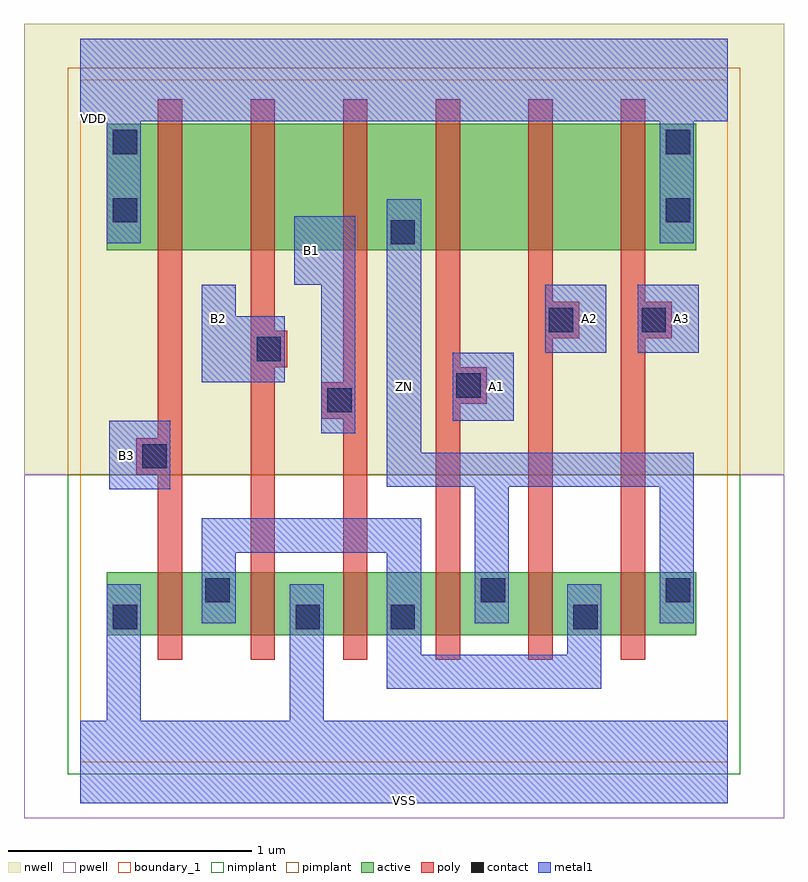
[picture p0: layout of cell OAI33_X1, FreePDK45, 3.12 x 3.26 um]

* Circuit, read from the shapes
.subckt OAI33_X1 A1 A2 A3 B1 B2 B3 VDD VSS ZN
M1 n1 B3 VSS VSUBS nfet w=0.26u l=0.1u
M2 VSS B2 n1 VSUBS nfet w=0.26u l=0.1u
M3 n1 B1 VSS VSUBS nfet w=0.26u l=0.1u
M4 ZN A1 n1 VSUBS nfet w=0.26u l=0.1u
M5 n1 A2 ZN VSUBS nfet w=0.26u l=0.1u
M6 ZN A3 n1 VSUBS nfet w=0.26u l=0.1u
M7 n2 B3 VDD n3 pfet w=0.52u l=0.1u
M8 n4 B2 n2 n3 pfet w=0.52u l=0.1u
M9 ZN B1 n4 n3 pfet w=0.52u l=0.1u
M10 n5 A1 ZN n3 pfet w=0.52u l=0.1u
M11 n6 A2 n5 n3 pfet w=0.52u l=0.1u
M12 VDD A3 n6 n3 pfet w=0.52u l=0.1u
.ends

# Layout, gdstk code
import gdstk
lib = gdstk.Library(unit=1e-6, precision=1e-09)
def R(c, l, rs):  # rectangles x0, y0, x1, y1
    for r in rs: c.add(gdstk.rectangle(r[:2], r[2:], *l))
def P(c, l, *ps):  # polygons
    for p in ps: c.add(gdstk.Polygon(p, *l))
active = (1, 0)
pwell = (2, 0)
nwell = (3, 0)
nimplant = (4, 0)
pimplant = (5, 0)
poly = (9, 0)
contact = (10, 0)
metal1 = (11, 0)
boundary_1 = (235, 1)

oai33_x1 = lib.new_cell('OAI33_X1')
R(oai33_x1, active, [(0.11,0.52,2.53,0.78), (0.11,2.1,2.53,2.62)])
R(oai33_x1, pwell, [(-0.23,-0.23,2.89,1.18)])
R(oai33_x1, nwell, [(-0.23,1.18,2.89,3.03)])
R(oai33_x1, nimplant, [(-0.05,-0.05,2.71,1.18)])
R(oai33_x1, pimplant, [(-0.05,1.18,2.71,2.85)])
P(oai33_x1, poly, [(2.22,0.42),(2.32,0.42),(2.32,1.74),(2.43,1.74),(2.43,1.89),(2.32,1.89),(2.32,2.72),(2.22,2.72)],
  [(1.84,0.42),(1.94,0.42),(1.94,1.74),(2.05,1.74),(2.05,1.89),(1.94,1.89),(1.94,2.72),(1.84,2.72)],
  [(1.46,0.42),(1.56,0.42),(1.56,1.47),(1.67,1.47),(1.67,1.62),(1.56,1.62),(1.56,2.72),(1.46,2.72)],
  [(0.99,1.41),(1.08,1.41),(1.08,0.42),(1.18,0.42),(1.18,2.72),(1.08,2.72),(1.08,1.56),(0.99,1.56)],
  [(0.7,0.42),(0.8,0.42),(0.8,1.62),(0.85,1.62),(0.85,1.77),(0.8,1.77),(0.8,2.72),(0.7,2.72)],
  [(0.23,1.18),(0.32,1.18),(0.32,0.42),(0.42,0.42),(0.42,2.72),(0.32,2.72),(0.32,1.33),(0.23,1.33)])
R(oai33_x1, contact, [(0.135,0.545,0.235,0.645), (0.885,0.545,0.985,0.645), (1.275,0.545,1.375,0.645), (2.025,0.545,2.125,0.645), (0.515,0.655,0.615,0.755), (1.645,0.655,1.745,0.755), (2.405,0.655,2.505,0.755), (0.255,1.205,0.355,1.305), (1.015,1.435,1.115,1.535), (1.545,1.495,1.645,1.595), (0.725,1.645,0.825,1.745), (1.925,1.765,2.025,1.865), (2.305,1.765,2.405,1.865), (1.275,2.125,1.375,2.225), (0.135,2.215,0.235,2.315), (2.405,2.215,2.505,2.315), (0.135,2.495,0.235,2.595), (2.405,2.495,2.505,2.595)])
R(oai33_x1, metal1, [(0.12,1.12,0.37,1.4), (0.12,1.12,0.37,1.4), (1.53,1.4,1.78,1.68), (1.53,1.4,1.78,1.68), (1.91,1.68,2.16,1.96), (1.91,1.68,2.16,1.96), (2.29,1.68,2.54,1.96), (2.29,1.68,2.54,1.96)])
P(oai33_x1, metal1, [(0.5,1.56),(0.84,1.56),(0.84,1.83),(0.64,1.83),(0.64,1.96),(0.5,1.96)],
  [(0,-0.17),(2.66,-0.17),(2.66,0.17),(1,0.17),(1,0.73),(0.86,0.73),(0.86,0.17),(0.25,0.17),(0.25,0.73),(0.11,0.73),(0.11,0.17),(0,0.17)],
  [(1.26,1.13),(1.62,1.13),(1.62,0.57),(1.76,0.57),(1.76,1.13),(2.38,1.13),(2.38,0.57),(2.52,0.57),(2.52,1.27),(1.4,1.27),(1.4,2.31),(1.26,2.31)],
  [(0.88,1.96),(0.99,1.96),(0.99,1.35),(1.13,1.35),(1.13,2.24),(0.88,2.24)],
  [(0,2.63),(0.11,2.63),(0.11,2.13),(0.25,2.13),(0.25,2.63),(2.38,2.63),(2.38,2.13),(2.52,2.13),(2.52,2.63),(2.66,2.63),(2.66,2.97),(0,2.97)],
  [(0,2.63),(0.11,2.63),(0.11,2.13),(0.25,2.13),(0.25,2.63),(2.38,2.63),(2.38,2.13),(2.52,2.13),(2.52,2.63),(2.66,2.63),(2.66,2.97),(0,2.97)],
  [(0,-0.17),(2.66,-0.17),(2.66,0.17),(1,0.17),(1,0.73),(0.86,0.73),(0.86,0.17),(0.25,0.17),(0.25,0.73),(0.11,0.73),(0.11,0.17),(0,0.17)],
  [(1.26,1.13),(1.62,1.13),(1.62,0.57),(1.76,0.57),(1.76,1.13),(2.38,1.13),(2.38,0.57),(2.52,0.57),(2.52,1.27),(1.4,1.27),(1.4,2.31),(1.26,2.31)],
  [(0.5,0.57),(0.64,0.57),(0.64,0.86),(1.26,0.86),(1.26,0.3),(2.14,0.3),(2.14,0.73),(2,0.73),(2,0.44),(1.4,0.44),(1.4,1),(0.5,1)],
  [(0.88,1.96),(0.99,1.96),(0.99,1.35),(1.13,1.35),(1.13,2.24),(0.88,2.24)],
  [(0.5,1.56),(0.84,1.56),(0.84,1.83),(0.64,1.83),(0.64,1.96),(0.5,1.96)])
R(oai33_x1, boundary_1, [(0,0,2.66,2.8)])
oai33_x1.add(gdstk.Label('ZN', (1.33,1.54), layer=11, texttype=0))
oai33_x1.add(gdstk.Label('VSS', (1.33,-0.16), layer=11, texttype=0))
oai33_x1.add(gdstk.Label('VDD', (0.055,2.64), layer=11, texttype=0))
oai33_x1.add(gdstk.Label('B3', (0.19,1.26), layer=11, texttype=0))
oai33_x1.add(gdstk.Label('B2', (0.57,1.82), layer=11, texttype=0))
oai33_x1.add(gdstk.Label('B1', (0.95,2.1), layer=11, texttype=0))
oai33_x1.add(gdstk.Label('A3', (2.47,1.82), layer=11, texttype=0))
oai33_x1.add(gdstk.Label('A2', (2.09,1.82), layer=11, texttype=0))
oai33_x1.add(gdstk.Label('A1', (1.71,1.54), layer=11, texttype=0))

lib.write_gds('OAI33_X1.gds')
